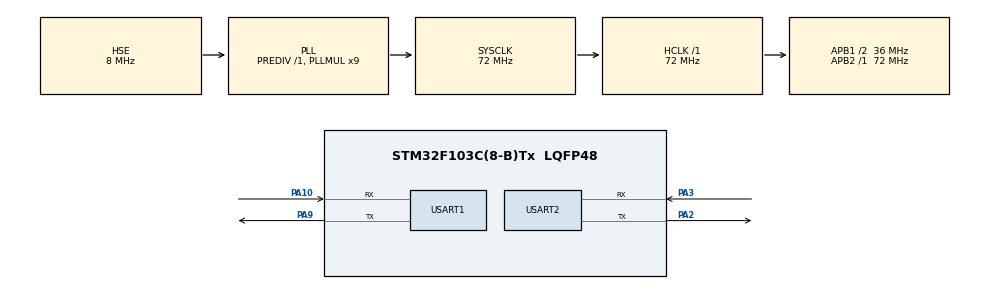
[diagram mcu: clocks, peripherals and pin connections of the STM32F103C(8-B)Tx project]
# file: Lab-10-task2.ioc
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Mcu.Family=STM32F1
Mcu.Name=STM32F103C(8-B)Tx
Mcu.Package=LQFP48
NVIC.PriorityGroup=NVIC_PRIORITYGROUP_4
PA10.Mode=Asynchronous
PA10.Signal=USART1_RX
PA2.Mode=Asynchronous
PA2.Signal=USART2_TX
PA3.Mode=Asynchronous
PA3.Signal=USART2_RX
PA9.Mode=Asynchronous
PA9.Signal=USART1_TX
PD0-OSC_IN.Mode=HSE-External-Oscillator
PD0-OSC_IN.Signal=RCC_OSC_IN
PD1-OSC_OUT.Mode=HSE-External-Oscillator
PD1-OSC_OUT.Signal=RCC_OSC_OUT
ProjectManager.HeapSize=0x200
ProjectManager.StackSize=0x400
ProjectManager.TargetToolchain=MDK-ARM V5.32
RCC.AHBFreq_Value=72000000
RCC.APB1CLKDivider=RCC_HCLK_DIV2
RCC.APB1Freq_Value=36000000
RCC.APB1TimFreq_Value=72000000
RCC.APB2Freq_Value=72000000
RCC.APB2TimFreq_Value=72000000
RCC.HCLKFreq_Value=72000000
RCC.PLLMUL=RCC_PLL_MUL9
RCC.PLLSourceVirtual=RCC_PLLSOURCE_HSE
RCC.SYSCLKFreq_VALUE=72000000
RCC.SYSCLKSource=RCC_SYSCLKSOURCE_PLLCLK
RCC.USBFreq_Value=72000000
USART1.VirtualMode=VM_ASYNC
USART2.VirtualMode=VM_ASYNC
VP_SYS_VS_ND.Mode=No_Debug
board=custom

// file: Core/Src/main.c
/* USER CODE BEGIN Header */
/**
  ******************************************************************************
  * @file           : main.c
  * @brief          : Main program body
  ******************************************************************************
  * @attention
  *
  * Copyright (c) 2026 STMicroelectronics.
  * All rights reserved.
  *
  * This software is licensed under terms that can be found in the LICENSE file
  * in the root directory of this software component.
  * If no LICENSE file comes with this software, it is provided AS-IS.
  *
  ******************************************************************************
  */
/* USER CODE END Header */
#include "main.h"

/* USER CODE BEGIN Includes */
#include <string.h>
/* USER CODE END Includes */

UART_HandleTypeDef huart1;
UART_HandleTypeDef huart2;

void SystemClock_Config(void);
static void MX_GPIO_Init(void);
static void MX_USART1_UART_Init(void);
static void MX_USART2_UART_Init(void);

int main(void)
{

  /* MCU Configuration--------------------------------------------------------*/

  /* Reset of all peripherals, Initializes the Flash interface and the Systick. */
  HAL_Init();

  /* Configure the system clock */
  SystemClock_Config();

  /* Initialize all configured peripherals */
  MX_GPIO_Init();
  MX_USART1_UART_Init();
  MX_USART2_UART_Init();
  /* USER CODE BEGIN 2 */

	uint8_t ch;

  char cmd1[] = "AT\r\n";
  HAL_UART_Transmit(&huart1, (uint8_t *)cmd1, strlen(cmd1), HAL_MAX_DELAY);
  while (HAL_UART_Receive(&huart1, &ch, 1, 100) == HAL_OK)
  {
    HAL_UART_Transmit(&huart2, &ch, 1, HAL_MAX_DELAY);
  }
  HAL_Delay(500);

  char cmd2[] = "AT+CWMODE=1\r\n";
  HAL_UART_Transmit(&huart1, (uint8_t *)cmd2, strlen(cmd2), HAL_MAX_DELAY);
  while (HAL_UART_Receive(&huart1, &ch, 1, 100) == HAL_OK)
  {
    HAL_UART_Transmit(&huart2, &ch, 1, HAL_MAX_DELAY);
  }
  HAL_Delay(500);

  char cmd5[] = "AT+CWDHCP=1,1\r\n";
  HAL_UART_Transmit(&huart1, (uint8_t *)cmd5, strlen(cmd5), HAL_MAX_DELAY);
  while (HAL_UART_Receive(&huart1, &ch, 1, 100) == HAL_OK)
  {
    HAL_UART_Transmit(&huart2, &ch, 1, HAL_MAX_DELAY);
  }
  HAL_Delay(500);

  char cmd3[] = "AT+CWJAP=\"SNUC\",\"snu12345\"\r\n";
  HAL_UART_Transmit(&huart1, (uint8_t *)cmd3, strlen(cmd3), HAL_MAX_DELAY);
  while (HAL_UART_Receive(&huart1, &ch, 1, 5000) == HAL_OK)
  {
    HAL_UART_Transmit(&huart2, &ch, 1, HAL_MAX_DELAY);
  }
  HAL_Delay(500);

  char cmd4[] = "AT+CIFSR\r\n";
  HAL_UART_Transmit(&huart1, (uint8_t *)cmd4, strlen(cmd4), HAL_MAX_DELAY);
  while (HAL_UART_Receive(&huart1, &ch, 1, 100) == HAL_OK)
  {
    HAL_UART_Transmit(&huart2, &ch, 1, HAL_MAX_DELAY);
  }
  HAL_Delay(500);

  /* USER CODE END 2 */

  /* Infinite loop */
  while (1)
  {

  }
}

void SystemClock_Config(void)
{
  RCC_OscInitTypeDef RCC_OscInitStruct = {0};
  RCC_ClkInitTypeDef RCC_ClkInitStruct = {0};

  /** Initializes the RCC Oscillators according to the specified parameters
  * in the RCC_OscInitTypeDef structure.
  */
  RCC_OscInitStruct.OscillatorType = RCC_OSCILLATORTYPE_HSE;
  RCC_OscInitStruct.HSEState = RCC_HSE_ON;
  RCC_OscInitStruct.HSEPredivValue = RCC_HSE_PREDIV_DIV1;
  RCC_OscInitStruct.HSIState = RCC_HSI_ON;
  RCC_OscInitStruct.PLL.PLLState = RCC_PLL_ON;
  RCC_OscInitStruct.PLL.PLLSource = RCC_PLLSOURCE_HSE;
  RCC_OscInitStruct.PLL.PLLMUL = RCC_PLL_MUL9;
  if (HAL_RCC_OscConfig(&RCC_OscInitStruct) != HAL_OK)
  {
    Error_Handler();
  }

  /** Initializes the CPU, AHB and APB buses clocks
  */
  RCC_ClkInitStruct.ClockType = RCC_CLOCKTYPE_HCLK|RCC_CLOCKTYPE_SYSCLK
                              |RCC_CLOCKTYPE_PCLK1|RCC_CLOCKTYPE_PCLK2;
  RCC_ClkInitStruct.SYSCLKSource = RCC_SYSCLKSOURCE_PLLCLK;
  RCC_ClkInitStruct.AHBCLKDivider = RCC_SYSCLK_DIV1;
  RCC_ClkInitStruct.APB1CLKDivider = RCC_HCLK_DIV2;
  RCC_ClkInitStruct.APB2CLKDivider = RCC_HCLK_DIV1;

  if (HAL_RCC_ClockConfig(&RCC_ClkInitStruct, FLASH_LATENCY_2) != HAL_OK)
  {
    Error_Handler();
  }
}

static void MX_USART1_UART_Init(void)
{

  huart1.Instance = USART1;
  huart1.Init.BaudRate = 115200;
  huart1.Init.WordLength = UART_WORDLENGTH_8B;
  huart1.Init.StopBits = UART_STOPBITS_1;
  huart1.Init.Parity = UART_PARITY_NONE;
  huart1.Init.Mode = UART_MODE_TX_RX;
  huart1.Init.HwFlowCtl = UART_HWCONTROL_NONE;
  huart1.Init.OverSampling = UART_OVERSAMPLING_16;
  if (HAL_UART_Init(&huart1) != HAL_OK)
  {
    Error_Handler();
  }

}

static void MX_USART2_UART_Init(void)
{

  huart2.Instance = USART2;
  huart2.Init.BaudRate = 115200;
  huart2.Init.WordLength = UART_WORDLENGTH_8B;
  huart2.Init.StopBits = UART_STOPBITS_1;
  huart2.Init.Parity = UART_PARITY_NONE;
  huart2.Init.Mode = UART_MODE_TX_RX;
  huart2.Init.HwFlowCtl = UART_HWCONTROL_NONE;
  huart2.Init.OverSampling = UART_OVERSAMPLING_16;
  if (HAL_UART_Init(&huart2) != HAL_OK)
  {
    Error_Handler();
  }

}

static void MX_GPIO_Init(void)
{

  /* GPIO Ports Clock Enable */
  __HAL_RCC_GPIOD_CLK_ENABLE();
  __HAL_RCC_GPIOA_CLK_ENABLE();

}

void Error_Handler(void)
{
  __disable_irq();
  while (1)
  {
  }
}
